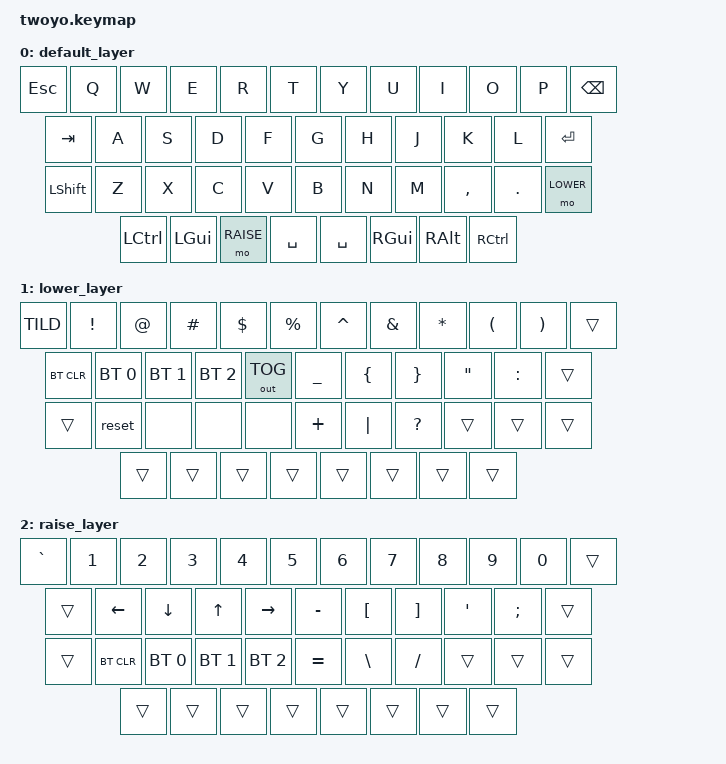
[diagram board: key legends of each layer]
/*
 * Copyright (c) 2020 The ZMK Contributors
 *
 * SPDX-License-Identifier: MIT
 */

#include <behaviors.dtsi>
#include <dt-bindings/zmk/keys.h>
#include <dt-bindings/zmk/bt.h>
#include <dt-bindings/zmk/outputs.h>

#define DEFAULT 0
#define LOWER   1
#define RAISE   2

/ {
        keymap {
                compatible = "zmk,keymap";

                default_layer {
// -----------------------------------------------------------------------------------------
// |  ESC |  Q  |  W  |  E  |  R  |  T  |   |  Y  |  U   |  I  |  O  |  P  | BKSP |
// | TAB  |  A  |  S  |  D  |  F  |  G  |    |  H  |  J   |  K  |  L  |   ENTER   |
// | SHFT |  Z  |  X  |  C  |  V  |  B  |     |  N  |  M   |  ,  |  .  |  LOWER   |
// | CTL | GUI | ALT |  | LT(RAISE,SPC) |        | SPC |       | ALT | GUI  | CTL |
                        bindings = <
   &kp ESC  &kp Q &kp W &kp E &kp R &kp T     &kp Y &kp U  &kp I  &kp O  &kp P   &kp BSPC
   &kp TAB &kp A  &kp S &kp D &kp F &kp G        &kp H &kp J  &kp K     &kp L     &kp ENTER
   &kp LSHFT &kp Z &kp X &kp C &kp V &kp B        &kp N &kp M  &kp COMMA &kp DOT &mo LOWER
   &kp LCTL &kp LGUI &mo RAISE &kp SPACE   &kp SPACE &kp RGUI &kp RALT &kp RCTL
                        >;
                };
                lower_layer {
// -----------------------------------------------------------------------------------------
// | TILD  |  !  |  @  |  #  |  $  |  %  |     |  ^  |  &  |  *  |  (  |  )  |      |
// | BTCLR| BT0 | BT1 | BT2 | OUT |  _   |     | {  |  }  |  "  |  :  |             |           
// |      | RST |     |     |     |  +   |     | "|" | ?  |     |        |          |      
// |     |     |    |                    |     |                |     |      |      |
                        bindings = <
   &kp TILD &kp EXCL &kp AT &kp HASH &kp DLLR &kp PRCNT &kp CARET  &kp AMPS &kp STAR &kp LPAR &kp RPAR &trans
   &bt BT_CLR &bt BT_SEL 0 &bt BT_SEL 1 &bt BT_SEL 2 &out OUT_TOG &kp UNDER     &kp LBRC &kp RBRC &kp DQT &kp COLON &trans 
   &trans  &reset      &none       &none       &none       &kp PLUS   &kp PIPE   &kp QMARK   &trans    &trans    &trans 
   &trans &trans  &trans       &trans                        &trans          &trans                       &trans &trans
                        >;
                };

                raise_layer {
// -----------------------------------------------------------------------------------------
// | GRV |  1  |  2  |  3  |  4 |  5    |     |  6  |  7  |  8  |  9  |  0  |      |
// |     | LFT | DWN | UP   | RGT |  -  |     |  [  |  ]  |  '  |  ;  |     |
// |     |     |     |     |     |   =  |     |  \  |  /  |     |     |     | 
// |     |     |     |                  |     |           |     |     |     |
                        bindings = <
   &kp GRAVE  &kp N1  &kp N2  &kp N3  &kp N4  &kp N5   &kp N6 &kp N7  &kp N8 &kp N9 &kp N0 &trans
   &trans &kp LEFT  &kp DOWN  &kp UP    &kp RIGHT  &kp MINUS      &kp LBKT &kp RBKT &kp SQT &kp SEMI  &trans 
   &trans &bt BT_CLR &bt BT_SEL 0 &bt BT_SEL 1 &bt BT_SEL 2    &kp EQUAL      &kp BSLH    &kp FSLH    &trans  &trans &trans
   &trans &trans &trans                     &trans          &trans              &trans &trans &trans
                        >;
                };
        };
};
